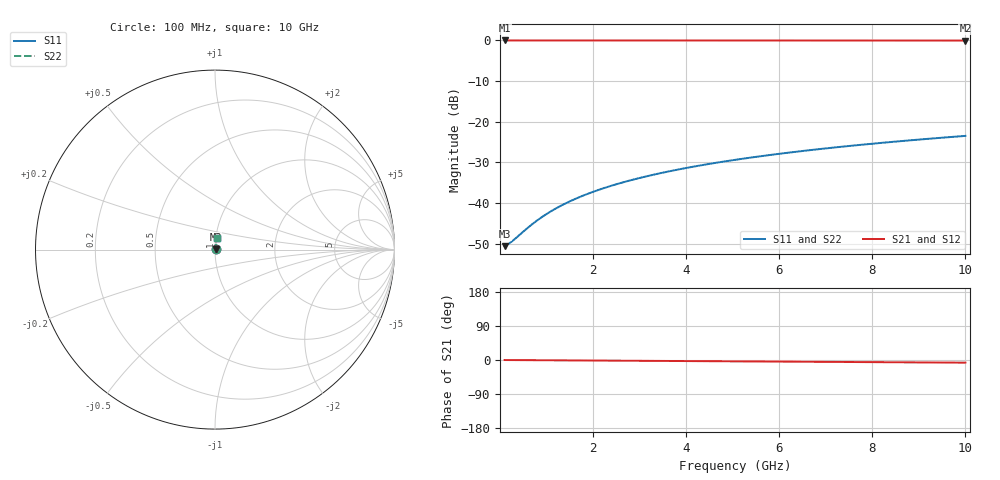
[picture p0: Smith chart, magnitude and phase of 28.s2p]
# Hz S RI R 50.00
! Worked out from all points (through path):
!   100 points, 100 MHz to 10 GHz, reference 50 ohm
!   highest |S21| = -0.03 dB at 100 MHz (marker M1); lowest = 0.0 dB at 10 GHz (marker M2)
!   lowest |S11| = -50.6 dB at 100 MHz (marker M3), VSWR 1.01, Z = 50.3 + j0.0672 ohm
!   |S11| at or under -10 dB: start of sweep to end of sweep
!   |S22| runs from -50.6 to -23.5 dB; largest |S21 - S12| = 0
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1e8  0.00288 0.000668  0.9971 -0.00123  0.9971 -0.00123  0.00288 0.000668
2e8  0.0029 0.00134  0.9971 -0.00246  0.9971 -0.00246  0.0029 0.00134
3e8  0.00292 0.002  0.9971 -0.00368  0.9971 -0.00368  0.00292 0.002
6e8  0.00297 0.00401  0.997 -0.00737  0.997 -0.00737  0.00297 0.00401
7e8  0.00299 0.00467  0.997 -0.00859  0.997 -0.00859  0.00299 0.00467
8e8  0.00301 0.00534  0.997 -0.00982  0.997 -0.00982  0.00301 0.00534
1e9  0.00305 0.00668  0.9969 -0.0123  0.9969 -0.0123  0.00305 0.00668
1.2e9  0.0031 0.00801  0.9969 -0.0147  0.9969 -0.0147  0.0031 0.00801
1.4e9  0.00315 0.00935  0.9968 -0.0172  0.9968 -0.0172  0.00315 0.00935
1.6e9  0.00321 0.0107  0.9967 -0.0196  0.9967 -0.0196  0.00321 0.0107
1.8e9  0.00327 0.012  0.9967 -0.0221  0.9967 -0.0221  0.00327 0.012
2.1e9  0.00338 0.014  0.9965 -0.0258  0.9965 -0.0258  0.00338 0.014
2.5e9  0.00355 0.0167  0.9963 -0.0307  0.9963 -0.0307  0.00355 0.0167
2.9e9  0.00374 0.0193  0.9961 -0.0356  0.9961 -0.0356  0.00374 0.0193
3.4e9  0.00401 0.0227  0.9958 -0.0417  0.9958 -0.0417  0.00401 0.0227
4.2e9  0.00453 0.028  0.9952 -0.0515  0.9952 -0.0515  0.00453 0.028
5.1e9  0.00524 0.034  0.9943 -0.0625  0.9943 -0.0625  0.00524 0.034
5.9e9  0.00598 0.0392  0.9934 -0.0723  0.9934 -0.0723  0.00598 0.0392
6.7e9  0.00683 0.0445  0.9924 -0.0821  0.9924 -0.0821  0.00683 0.0445
7.5e9  0.00777 0.0498  0.9913 -0.0918  0.9913 -0.0918  0.00777 0.0498
8.4e9  0.00896 0.0556  0.9899 -0.1027  0.9899 -0.1027  0.00896 0.0556
1e10  0.0114 0.066  0.987 -0.1221  0.987 -0.1221  0.0114 0.066
